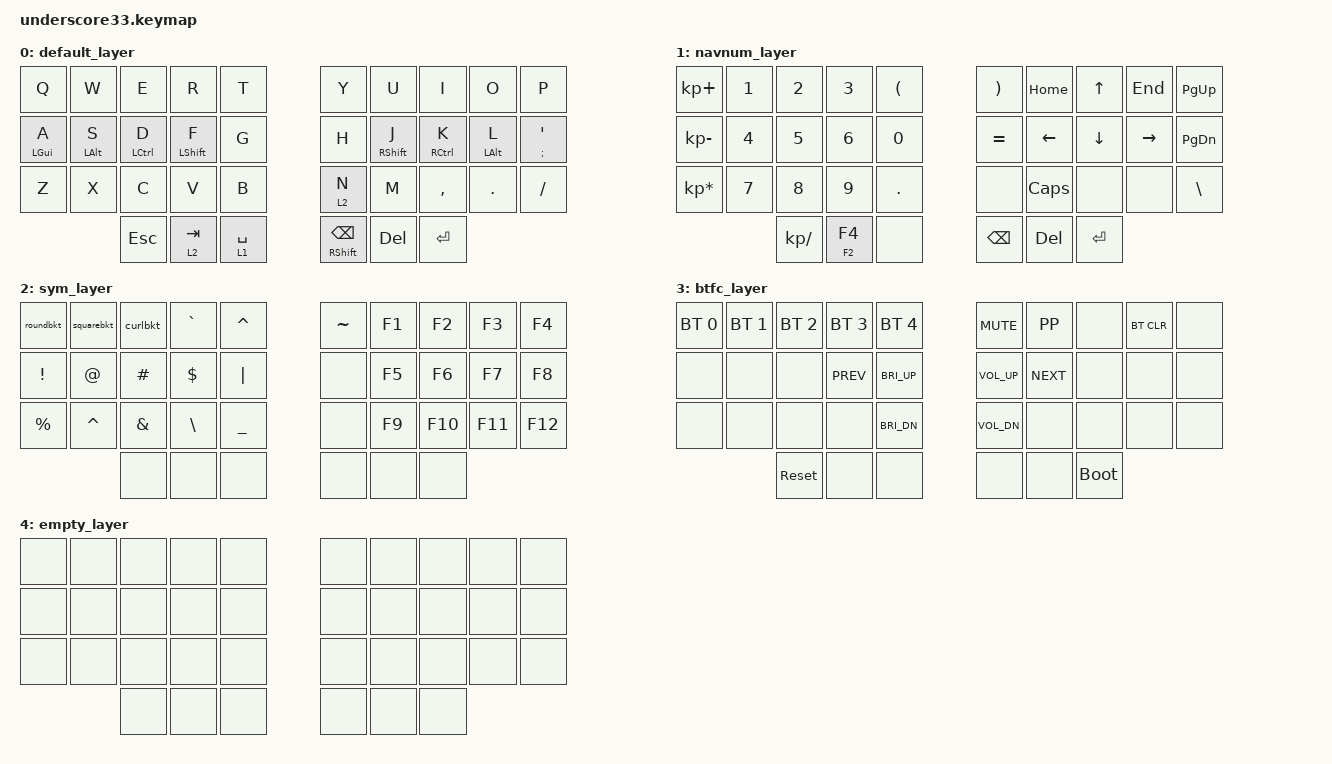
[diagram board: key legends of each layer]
/*
 * Copyright (c) 2020 The ZMK Contributors
 *
 * SPDX-License-Identifier: MIT
 */

// This key-map file WILL NOT WORK FOR YOU, you will need to modify it. I really do not recommend adapting to it.
// This key-map file is set-up to be the split space layout.
// I strongly urge you to customise your firmware to suit your usage.
// Please feel free to join the ZMK server at https://discord.gg/TdRMQaTYdF for help.

#include <behaviors.dtsi>
#include <dt-bindings/zmk/keys.h>
#include <dt-bindings/zmk/bt.h>

/ {

behaviors {

      macros {
         roundbkt: round_brackets {
            label= "round_brackets";
            compatible = "zmk,behavior-macro";
            #binding-cells = <0>;
            bindings
                = <&macro_tap &kp LPAR &kp RPAR>;
         };
         
         
         squarebkt: square_brackets {
            label= "square_brackets";
            compatible = "zmk,behavior-macro";
            #binding-cells = <0>;
            bindings
                = <&macro_tap &kp LBKT &kp RBKT>;
         };
         
         
         curlbkt: curl_brackets {
            label= "curl_brackets";
            compatible = "zmk,behavior-macro";
            #binding-cells = <0>;
            bindings
                = <&macro_tap &kp LBRC &kp RBRC>;
         };
        
         apostrophe: apostrophe {
            label= "apostrophe";
            compatible = "zmk,behavior-macro";
            #binding-cells = <0>;
            bindings
                = <&macro_tap &kp DQT &kp DQT>;
         };
      };
    
      hm: homerow_mods {
        compatible = "zmk,behavior-hold-tap";
        label = "HOMEROW_MODS";
        #binding-cells = <2>;
        tapping_term_ms = <150>;
        flavor = "tap-preferred";
        bindings = <&kp>, <&kp>;
    };
    
      te: tab_enter {
        compatible = "zmk,behavior-hold-tap";
        label = "TAB_ENTER";
        #binding-cells = <2>;
        tapping_term_ms = <50>;
        flavor = "tap-preferred";
        bindings = <&kp>, <&kp>;
    };
     
    td_mt_enter_tab_f2_f4: tap_dance_mod_tap_tab_esc {
            compatible = "zmk,behavior-tap-dance";
            label = "TAP_DANCE_MOD_TAP_enter_tab_f2_f4";
            #binding-cells = <0>;
            tapping-term-ms = <200>;
            bindings = <&te TAB ENTER>, <&kp F2>, <&kp F4>;
        };

    combos {
    compatible = "zmk,combos";
    combo_layer3 {
            timeout-ms = <50>;
            key-positions = <32 33>;
            bindings = <&mo 3>;
       };
    combo_layer4 {
            timeout-ms = <50>;
            key-positions = <0 9 32 33>;
            bindings = <&tog 4>;
       };
    combo_layer1 {
            timeout-ms = <50>;
            key-positions = <4 5 32 33>;
            bindings = <&tog 0>;
       };

    };
};
        keymap {
                compatible = "zmk,keymap";

                default_layer {
// -----------------------------------------------------------------------------------------
// | Q      | W      | E       | R       | T          | Y | U                   | I       | O      | P      |
// | A/LGUI | S/LALT | D/LCTRL | F       | G          | H | J                   | K/RCTRL | L/RALT | '/RGUI |
// | Z      | X      | C       | V       | B          | N | M                   | ,       | .      | /      |
//          | ESC    | TAB/LT2 | SPC/LT1 | BSPC/RSHFT | ; | ENT/TAB/F2(2)/F4(3) |
                        bindings = <
   &kp Q      &kp W      &kp E       &kp R       &kp T       &kp Y          &kp U        &kp I       &kp O      &kp P
   &hm LGUI A &hm LALT S &hm LCTRL D &hm LSHFT F &kp G       &kp H          &hm RSHFT J  &hm RCTRL K &hm LALT L &hm SEMI SQT
   &kp Z      &kp X      &kp C       &kp V       &kp B       &lt 2 N        &kp M        &kp COMMA   &kp DOT    &kp FSLH
                         &kp ESC     &lt 2 TAB   &lt 1 SPACE &hm RSHFT BSPC &kp DEL &kp ENTER
                        >;
                };

                navnum_layer {
// -----------------------------------------------------------------------------------------
// | + | 1 | 2 | 3 | (   | )    | CAPS | UP    | --    | --  |
// | - | 4 | 5 | 6 | =   | --   | LEFT | DOWN  | RIGHT | --  |
// | * | 7 | 8 | 9 | .   | --   | --   | --    | --    | \   |
//         | / | 0 | ENT | BSPC | DEL  | --    |
                        bindings = <
   &kp KP_PLUS     &kp N1  &kp N2        &kp N3    &kp LPAR  &kp RPAR  &kp HOME &kp UP   &kp END   &kp PG_UP
   &kp KP_MINUS    &kp N4  &kp N5        &kp N6    &kp N0    &kp EQUAL &kp LEFT &kp DOWN &kp RIGHT &kp PG_DN
   &kp KP_MULTIPLY &kp N7  &kp N8        &kp N9    &kp DOT   &none     &kp CAPS &none    &none     &kp BSLH
                           &kp KP_DIVIDE &hm F2 F4 &none     &kp BSPC  &kp DEL  &kp ENTER
                        >; 
                };

                sym_layer {
// -----------------------------------------------------------------------------------------
// | () | [] | {}   | `    | ^     | ~    | FN1  | FN2   | FN3  | FN4  |
// | !  | @  | #    | $    | PIPE  | none | FN5  | FN6   | FN7  | FN8  |
// | %  | ^  | &    | \    | _     | none | FN9  | FN10  | FN11 | FN12 |
//           | none | none | none  | none | none | none  |
                        bindings = <
   &roundbkt &squarebkt &curlbkt      &kp GRAVE     &kp CARET      &kp TILDE &kp F1 &kp F2  &kp F3  &kp F4
   &kp EXCL  &kp AT     &kp HASH      &kp DOLLAR    &kp PIPE       &none     &kp F5 &kp F6  &kp F7  &kp F8
   &kp PRCNT &kp CARET  &kp AMPERSAND &kp BACKSLASH &kp UNDERSCORE &none     &kp F9 &kp F10 &kp F11 &kp F12
                        &none         &none         &none          &none     &none  &none
                        >;
                };
                
                btfc_layer {
// -----------------------------------------------------------------------------------------
// | BT1 | BT2 | BT3        | BT4       | BT5      | vol_mute | play/pause | --         | BT_Clear | -- |
// | --  | --  | --         | Previous  | bri_up   | vol_up   | Next       | --         | --       | -- |
// | --  | --  | --         | --        | bri_down | vol_down | --         | --         | --       | -- |
//             | reset      | --        | combo    | combo    | --         | bootloader |
                        bindings = <
   &bt BT_SEL 0 &bt BT_SEL 1 &bt BT_SEL 2 &bt BT_SEL 3 &bt BT_SEL 4 &kp C_MUTE   &kp K_PP   &none       &bt BT_CLR &none
   &none        &none        &none        &kp C_PREV   &kp C_BRI_UP &kp C_VOL_UP &kp C_NEXT &none       &none      &none
   &none        &none        &none        &none        &kp C_BRI_DN &kp C_VOL_DN &none      &none       &none      &none
                             &sys_reset   &none        &none        &none        &none      &bootloader
                        >;
                };
                
                empty_layer {
// -----------------------------------------------------------------------------------------
// | none | none | none | none | none | none | none | none | none | none |
// | none | none | none | none | none | none | none | none | none | none |
// | none | none | none | none | none | none | none | none | none | none |
//        | none | none | none | none | none | none |
                        bindings = <
   &none &none &none &none &none &none &none &none &none &none
   &none &none &none &none &none &none &none &none &none &none
   &none &none &none &none &none &none &none &none &none &none
               &none &none &none &none &none &none
                        >;
                };


        };
};
